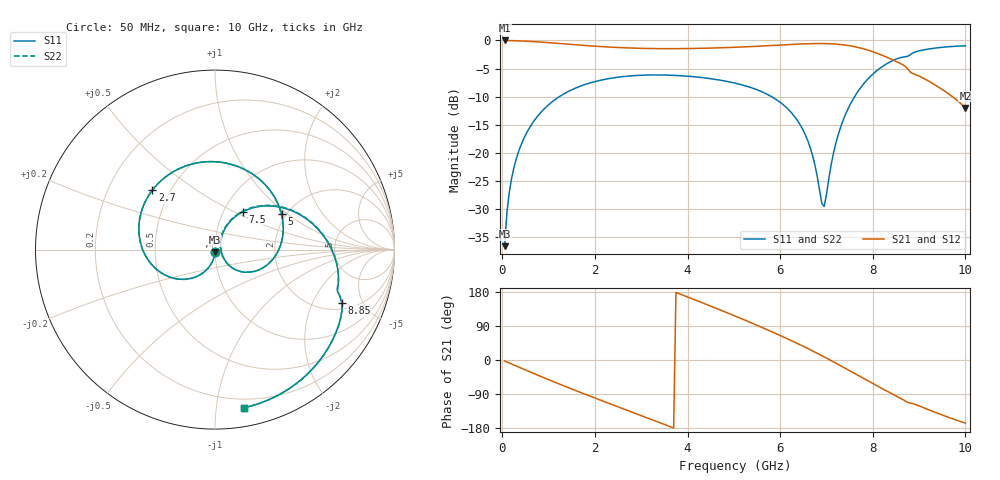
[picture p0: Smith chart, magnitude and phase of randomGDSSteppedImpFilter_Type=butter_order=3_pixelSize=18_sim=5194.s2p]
! freq	dB(S11)	phase(S11)	dB(S12)	phase(S12)
!  dB(S21)	phase(S21)	dB(S22)	phase(S22)
!S-par simulation data
#  GHz  S  DB  R 50
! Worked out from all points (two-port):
!   200 points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, 50 MHz to 10 GHz, reference 50 ohm
!   highest |S21| = 0.00 dB at 50 MHz (marker M1); lowest = -12.0 dB at 10 GHz (marker M2)
!   |S21| within 3 dB of the highest: start of sweep to 8.308 GHz
!   lowest |S11| = -36.6 dB at 50 MHz (marker M3), VSWR 1.03, Z = 49.9 - j1.48 ohm
!   |S11| at or under -10 dB: start of sweep to 1.231 GHz; 5.816 GHz to 7.607 GHz (1.791 GHz wide, 26.7 % of centre)
!   |S22| runs from -36.6 to -1.0 dB; largest |S21 - S12| = 0
!   S11 on the Smith chart (normalised r, x): 50 MHz: 1.00, -0.03; 2.7 GHz: 0.40, +0.34; 5 GHz: 1.90, +0.90; 7.5 GHz: 1.23, +0.56; 8.85 GHz: 2.36, -3.41; 10 GHz: 0.13, -1.19
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0.05  -36.57 -92.5  -0.00 -2.7  -0.00 -2.7  -36.57 -92.5
0.1  -30.56 -95.4  -0.01 -5.3  -0.01 -5.3  -30.56 -95.4
0.2  -24.57 -100.9  -0.03 -10.6  -0.03 -10.6  -24.57 -100.8
0.5  -16.84 -117.0  -0.13 -26.3  -0.13 -26.3  -16.83 -116.9
1.15  -10.45 -150.1  -0.48 -59.4  -0.48 -59.4  -10.45 -150.0
1.75  -7.94 -179.3  -0.87 -88.5  -0.87 -88.5  -7.94 -179.1
2.7  -6.35 136.4  -1.33 -132.8  -1.33 -132.8  -6.35 136.7
3.4  -6.13 104.0  -1.46 -165.3  -1.46 -165.3  -6.13 104.4
4.2  -6.51 66.5  -1.42 156.8  -1.42 156.8  -6.50 66.8
5  -7.54 27.9  -1.22 117.4  -1.22 117.4  -7.54 28.2
5.05  -7.64 25.4  -1.21 114.9  -1.21 114.9  -7.64 25.8
5.9  -10.42 -16.8  -0.86 70.2  -0.86 70.2  -10.43 -16.6
6.4  -14.57 -40.7  -0.65 42.0  -0.65 42.0  -14.58 -40.8
6.7  -20.45 -48.2  -0.56 23.9  -0.56 23.9  -20.51 -49.1
6.95  -29.51 17.4  -0.56 8.2  -0.56 8.2  -30.12 18.5
7.2  -18.35 64.7  -0.65 -8.1  -0.65 -8.1  -18.40 66.1
7.5  -11.58 53.5  -0.94 -28.3  -0.94 -28.3  -11.59 54.3
7.9  -6.80 29.9  -1.73 -55.5  -1.73 -55.5  -6.81 30.5
8.35  -3.92 2.4  -3.15 -84.9  -3.15 -84.9  -3.92 2.8
8.85  -2.31 -22.8  -5.84 -114.8  -5.84 -114.8  -2.34 -22.3
9.4  -1.31 -51.8  -8.19 -140.6  -8.19 -140.6  -1.31 -51.6
10  -0.95 -79.8  -12.02 -166.5  -12.02 -166.5  -0.95 -79.6
